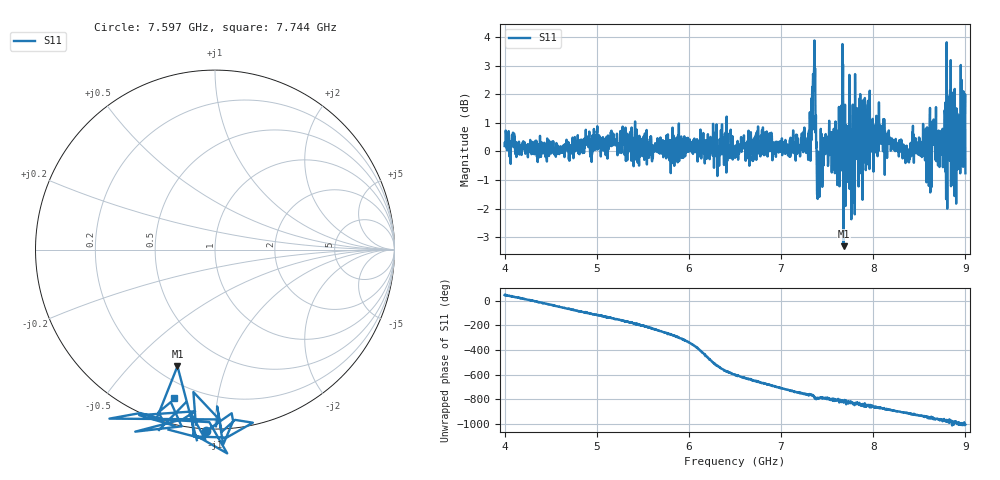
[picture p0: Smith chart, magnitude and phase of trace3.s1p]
! Created with skrf 1.8.0 (http://scikit-rf.org).
# Hz S RI R 50.0
!freq ReS11 ImS11
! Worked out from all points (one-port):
!   1601 points, 4 GHz to 9 GHz, reference 50 ohm
!   lowest |S11| = -3.3 dB at 7.678 GHz (marker M1), VSWR 5.30, Z = 14.2 - j34.5 ohm
!   |S11| at or under -10 dB: nowhere
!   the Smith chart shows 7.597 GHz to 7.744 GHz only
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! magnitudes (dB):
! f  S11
! 4 GHz  0.2
! 4.625 GHz  0.0
! 5.25 GHz  0.0
! 5.875 GHz  0.3
! 6.5 GHz  -0.2
! 7.125 GHz  0.3
! 7.294 GHz  -0.3
! 7.347 GHz  2.7
! 7.369 GHz  2.9
! 7.397 GHz  -1.7
! 7.412 GHz  -1.0
! 7.481 GHz  -0.1
! 7.622 GHz  0.4
! 7.65 GHz  0.5
! 7.678 GHz  -3.3
! 7.703 GHz  -0.5
! 7.75 GHz  -0.4
! 7.922 GHz  -0.4
! 8.375 GHz  -0.3
! 8.547 GHz  0.0
! 8.6 GHz  -0.4
! 8.662 GHz  0.8
! 8.769 GHz  0.2
! 8.822 GHz  -0.2
! 8.844 GHz  -1.2
! 8.919 GHz  0.0
! 8.972 GHz  0.6
! 9 GHz  -0.8
